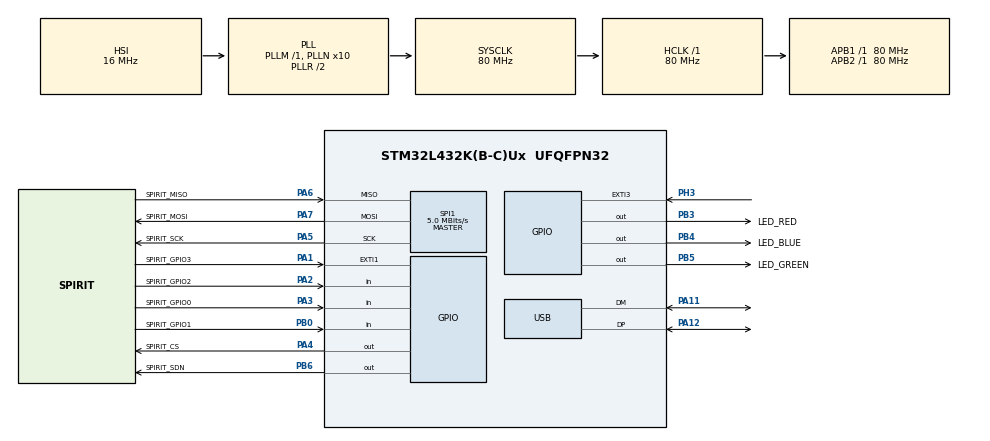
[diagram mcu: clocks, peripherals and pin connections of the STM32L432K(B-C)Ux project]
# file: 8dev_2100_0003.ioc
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Mcu.Family=STM32L4
Mcu.Name=STM32L432K(B-C)Ux
Mcu.Package=UFQFPN32
NVIC.EXTI1_IRQn=true\:1\:0\:true\:false\:true
NVIC.EXTI3_IRQn=true\:15\:0\:true\:false\:true
NVIC.PriorityGroup=NVIC_PRIORITYGROUP_4
NVIC.TIM6_DAC_IRQn=true\:0\:0\:true\:false\:true
NVIC.USB_IRQn=true\:0\:0\:false\:false\:true
PA1.GPIO_Label=SPIRIT_GPIO3
PA1.Signal=GPXTI1
PA11.Mode=Device
PA11.Signal=USB_DM
PA12.Mode=Device
PA12.Signal=USB_DP
PA13\ (JTMS-SWDIO).Mode=Serial_Wire
PA13\ (JTMS-SWDIO).Signal=SYS_JTMS-SWDIO
PA14\ (JTCK-SWCLK).Mode=Serial_Wire
PA14\ (JTCK-SWCLK).Signal=SYS_JTCK-SWCLK
PA2.GPIO_Label=SPIRIT_GPIO2
PA2.Signal=GPIO_Input
PA3.GPIO_Label=SPIRIT_GPIO0
PA3.Signal=GPIO_Input
PA4.GPIO_Label=SPIRIT_CS
PA4.GPIO_Speed=GPIO_SPEED_FREQ_VERY_HIGH
PA4.PinState=GPIO_PIN_SET
PA4.Signal=GPIO_Output
PA5.GPIO_Label=SPIRIT_SCK
PA5.GPIO_Mode=GPIO_MODE_AF_PP
PA5.GPIO_PuPd=GPIO_NOPULL
PA5.GPIO_Speed=GPIO_SPEED_FREQ_VERY_HIGH
PA5.Mode=Full_Duplex_Master
PA5.Signal=SPI1_SCK
PA6.GPIO_Label=SPIRIT_MISO
PA6.Mode=Full_Duplex_Master
PA6.Signal=SPI1_MISO
PA7.GPIO_Label=SPIRIT_MOSI
PA7.Mode=Full_Duplex_Master
PA7.Signal=SPI1_MOSI
PB0.GPIO_Label=SPIRIT_GPIO1
PB0.Signal=GPIO_Input
PB3\ (JTDO-TRACESWO).GPIO_Label=LED_RED
PB3\ (JTDO-TRACESWO).Signal=GPIO_Output
PB4\ (NJTRST).GPIO_Label=LED_BLUE
PB4\ (NJTRST).Signal=GPIO_Output
PB5.GPIO_Label=LED_GREEN
PB5.Signal=GPIO_Output
PB6.GPIO_Label=SPIRIT_SDN
PB6.GPIO_Speed=GPIO_SPEED_FREQ_VERY_HIGH
PB6.PinState=GPIO_PIN_SET
PB6.Signal=GPIO_Output
PC14-OSC32_IN\ (PC14).Mode=LSE-External-Oscillator
PC14-OSC32_IN\ (PC14).Signal=RCC_OSC32_IN
PC15-OSC32_OUT\ (PC15).Mode=LSE-External-Oscillator
PC15-OSC32_OUT\ (PC15).Signal=RCC_OSC32_OUT
PH3-BOOT0.Signal=GPXTI3
ProjectManager.HeapSize=0x200
ProjectManager.StackSize=0x400
ProjectManager.TargetToolchain=SW4STM32
RCC.ADCFreq_Value=64000000
RCC.AHBFreq_Value=80000000
RCC.APB1Freq_Value=80000000
RCC.APB1TimFreq_Value=80000000
RCC.APB2Freq_Value=80000000
RCC.APB2TimFreq_Value=80000000
RCC.CK48CLockSelection=RCC_USBCLKSOURCE_HSI48
RCC.CortexFreq_Value=80000000
RCC.DATA_CACHE_ENABLE=1
RCC.HCLKFreq_Value=80000000
RCC.HSE_VALUE=8000000
RCC.HSI48_VALUE=48000000
RCC.HSI_VALUE=16000000
RCC.MSI_VALUE=4000000
RCC.PLLN=10
RCC.PLLSourceVirtual=RCC_PLLSOURCE_HSI
RCC.PREFETCH_ENABLE=1
RCC.RTCClockSelection=RCC_RTCCLKSOURCE_LSE
RCC.SYSCLKFreq_VALUE=80000000
RCC.SYSCLKSource=RCC_SYSCLKSOURCE_PLLCLK
RCC.USBFreq_Value=48000000
RCC.VCOOutputFreq_Value=160000000
SPI1.BaudRatePrescaler=SPI_BAUDRATEPRESCALER_16
SPI1.CalculateBaudRate=5.0 MBits/s
SPI1.DataSize=SPI_DATASIZE_8BIT
SPI1.Mode=SPI_MODE_MASTER
SPI1.NSSPMode=SPI_NSS_PULSE_DISABLE
TIM6.Period=1
TIM6.Prescaler=999
TIM6.TIM_MasterOutputTrigger=TIM_TRGO_RESET
USB_DEVICE.CLASS_NAME_FS=CDC
USB_DEVICE.MANUFACTURER_STRING=8devices
USB_DEVICE.PID_CDC_FS=2100
USB_DEVICE.PRODUCT_STRING_CDC_FS=SPIRIT1 Gateway Router
USB_DEVICE.USBD_HandleTypeDef=hUsbDeviceFS
USB_DEVICE.VID=9599
USB_DEVICE.VirtualMode=Cdc
USB_DEVICE.VirtualModeFS=Cdc_FS
VP_RNG_VS_RNG.Mode=RNG_Activate
VP_RTC_VS_RTC_Activate.Mode=RTC_Enabled
VP_RTC_VS_RTC_Calendar.Mode=RTC_Calendar
VP_TIM6_VS_ClockSourceINT.Mode=Enable_Timer
VP_USB_DEVICE_VS_USB_DEVICE_CDC_FS.Mode=CDC_FS
board=8dev_2100_0003

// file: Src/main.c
/**
  ******************************************************************************
  * File Name          : main.c
  * Description        : Main program body
  ******************************************************************************
  *
  * Copyright (c) 2016 STMicroelectronics International N.V.
  * All rights reserved.
  *
  * Redistribution and use in source and binary forms, with or without
  * modification, are permitted, provided that the following conditions are met:
  *
  * 1. Redistribution of source code must retain the above copyright notice,
  *    this list of conditions and the following disclaimer.
  * 2. Redistributions in binary form must reproduce the above copyright notice,
  *    this list of conditions and the following disclaimer in the documentation
  *    and/or other materials provided with the distribution.
  * 3. Neither the name of STMicroelectronics nor the names of other
  *    contributors to this software may be used to endorse or promote products
  *    derived from this software without specific written permission.
  * 4. This software, including modifications and/or derivative works of this
  *    software, must execute solely and exclusively on microcontroller or
  *    microprocessor devices manufactured by or for STMicroelectronics.
  * 5. Redistribution and use of this software other than as permitted under
  *    this license is void and will automatically terminate your rights under
  *    this license.
  *
  * THIS SOFTWARE IS PROVIDED BY STMICROELECTRONICS AND CONTRIBUTORS "AS IS"
  * AND ANY EXPRESS, IMPLIED OR STATUTORY WARRANTIES, INCLUDING, BUT NOT
  * LIMITED TO, THE IMPLIED WARRANTIES OF MERCHANTABILITY, FITNESS FOR A
  * PARTICULAR PURPOSE AND NON-INFRINGEMENT OF THIRD PARTY INTELLECTUAL PROPERTY
  * RIGHTS ARE DISCLAIMED TO THE FULLEST EXTENT PERMITTED BY LAW. IN NO EVENT
  * SHALL STMICROELECTRONICS OR CONTRIBUTORS BE LIABLE FOR ANY DIRECT, INDIRECT,
  * INCIDENTAL, SPECIAL, EXEMPLARY, OR CONSEQUENTIAL DAMAGES (INCLUDING, BUT NOT
  * LIMITED TO, PROCUREMENT OF SUBSTITUTE GOODS OR SERVICES; LOSS OF USE, DATA,
  * OR PROFITS; OR BUSINESS INTERRUPTION) HOWEVER CAUSED AND ON ANY THEORY OF
  * LIABILITY, WHETHER IN CONTRACT, STRICT LIABILITY, OR TORT (INCLUDING
  * NEGLIGENCE OR OTHERWISE) ARISING IN ANY WAY OUT OF THE USE OF THIS SOFTWARE,
  * EVEN IF ADVISED OF THE POSSIBILITY OF SUCH DAMAGE.
  *
  ******************************************************************************
  */
#include "main.h"
#include "stm32l4xx_hal.h"
#include "usb_device.h"

/* USER CODE BEGIN Includes */
#include "board.h"
#include "process.h"
#include "usb_device.h"
#include "netstack.h"
#include "MCU_Interface.h"
#include "SPIRIT_Irq.h"
#include "SPIRIT_Commands.h"
#include "SPIRIT_Timer.h"
/* USER CODE END Includes */

RNG_HandleTypeDef hrng;

RTC_HandleTypeDef hrtc;

SPI_HandleTypeDef hspi1;

TIM_HandleTypeDef htim6;

/* USER CODE BEGIN PV */
/* Private variables ---------------------------------------------------------*/
volatile uint8_t cdc_configured = 0;
/* USER CODE END PV */

void SystemClock_Config(void);
void Error_Handler(void);
static void MX_GPIO_Init(void);
static void MX_RNG_Init(void);
static void MX_RTC_Init(void);
static void MX_SPI1_Init(void);
static void MX_TIM6_Init(void);

/* USER CODE BEGIN PFP */
/* Private function prototypes -----------------------------------------------*/

/* USER CODE END PFP */

int main(void)
{

  /* MCU Configuration----------------------------------------------------------*/

  /* Reset of all peripherals, Initializes the Flash interface and the Systick. */
  HAL_Init();

  /* Configure the system clock */
  SystemClock_Config();

  /* Initialize all configured peripherals */
  MX_GPIO_Init();
  MX_RNG_Init();
  MX_RTC_Init();
  MX_SPI1_Init();
  MX_USB_DEVICE_Init();
  MX_TIM6_Init();

  /* USER CODE BEGIN 2 */
  volatile uint8_t *usb_state = &hUsbDeviceFS.dev_state;
  while (*usb_state != USBD_STATE_CONFIGURED) {
	  __NOP();
  }
  while (!cdc_configured) __NOP();

  HAL_TIM_Base_Start_IT(&htim6);

  BSP_LED_Init(LED2);
//  RadioShieldLedInit(RADIO_SHIELD_LED);
  BSP_PB_Init(BUTTON_USER, BUTTON_MODE_EXTI);
  Stack_6LoWPAN_Init();

  /* USER CODE END 2 */

  /* Infinite loop */
  while (1)
  {

  /* USER CODE BEGIN 3 */
	  int r = 0;
	  do {
		  r = process_run();
	  } while(r > 0);
  }
  /* USER CODE END 3 */

}

/** System Clock Configuration
*/
void SystemClock_Config(void)
{

  RCC_OscInitTypeDef RCC_OscInitStruct;
  RCC_ClkInitTypeDef RCC_ClkInitStruct;
  RCC_PeriphCLKInitTypeDef PeriphClkInit;

    /**Initializes the CPU, AHB and APB busses clocks
    */
  RCC_OscInitStruct.OscillatorType = RCC_OSCILLATORTYPE_HSI48|RCC_OSCILLATORTYPE_HSI
                              |RCC_OSCILLATORTYPE_LSE;
  RCC_OscInitStruct.LSEState = RCC_LSE_ON;
  RCC_OscInitStruct.HSIState = RCC_HSI_ON;
  RCC_OscInitStruct.HSI48State = RCC_HSI48_ON;
  RCC_OscInitStruct.HSICalibrationValue = 16;
  RCC_OscInitStruct.PLL.PLLState = RCC_PLL_ON;
  RCC_OscInitStruct.PLL.PLLSource = RCC_PLLSOURCE_HSI;
  RCC_OscInitStruct.PLL.PLLM = 1;
  RCC_OscInitStruct.PLL.PLLN = 10;
  RCC_OscInitStruct.PLL.PLLP = RCC_PLLP_DIV7;
  RCC_OscInitStruct.PLL.PLLQ = RCC_PLLQ_DIV2;
  RCC_OscInitStruct.PLL.PLLR = RCC_PLLR_DIV2;
  if (HAL_RCC_OscConfig(&RCC_OscInitStruct) != HAL_OK)
  {
    Error_Handler();
  }

    /**Initializes the CPU, AHB and APB busses clocks
    */
  RCC_ClkInitStruct.ClockType = RCC_CLOCKTYPE_HCLK|RCC_CLOCKTYPE_SYSCLK
                              |RCC_CLOCKTYPE_PCLK1|RCC_CLOCKTYPE_PCLK2;
  RCC_ClkInitStruct.SYSCLKSource = RCC_SYSCLKSOURCE_PLLCLK;
  RCC_ClkInitStruct.AHBCLKDivider = RCC_SYSCLK_DIV1;
  RCC_ClkInitStruct.APB1CLKDivider = RCC_HCLK_DIV1;
  RCC_ClkInitStruct.APB2CLKDivider = RCC_HCLK_DIV1;

  if (HAL_RCC_ClockConfig(&RCC_ClkInitStruct, FLASH_LATENCY_4) != HAL_OK)
  {
    Error_Handler();
  }

  PeriphClkInit.PeriphClockSelection = RCC_PERIPHCLK_RTC|RCC_PERIPHCLK_USB
                              |RCC_PERIPHCLK_RNG;
  PeriphClkInit.RTCClockSelection = RCC_RTCCLKSOURCE_LSE;
  PeriphClkInit.UsbClockSelection = RCC_USBCLKSOURCE_HSI48;
  PeriphClkInit.RngClockSelection = RCC_RNGCLKSOURCE_HSI48;
  if (HAL_RCCEx_PeriphCLKConfig(&PeriphClkInit) != HAL_OK)
  {
    Error_Handler();
  }

    /**Configure the main internal regulator output voltage
    */
  if (HAL_PWREx_ControlVoltageScaling(PWR_REGULATOR_VOLTAGE_SCALE1) != HAL_OK)
  {
    Error_Handler();
  }

    /**Configure the Systick interrupt time
    */
  HAL_SYSTICK_Config(HAL_RCC_GetHCLKFreq()/1000);

    /**Configure the Systick
    */
  HAL_SYSTICK_CLKSourceConfig(SYSTICK_CLKSOURCE_HCLK);

  /* SysTick_IRQn interrupt configuration */
  HAL_NVIC_SetPriority(SysTick_IRQn, 0, 0);
}

/* RNG init function */
static void MX_RNG_Init(void)
{

  hrng.Instance = RNG;
  if (HAL_RNG_Init(&hrng) != HAL_OK)
  {
    Error_Handler();
  }

}

/* RTC init function */
static void MX_RTC_Init(void)
{

  RTC_TimeTypeDef sTime;
  RTC_DateTypeDef sDate;

    /**Initialize RTC Only
    */
  hrtc.Instance = RTC;
  hrtc.Init.HourFormat = RTC_HOURFORMAT_24;
  hrtc.Init.AsynchPrediv = 127;
  hrtc.Init.SynchPrediv = 255;
  hrtc.Init.OutPut = RTC_OUTPUT_DISABLE;
  hrtc.Init.OutPutRemap = RTC_OUTPUT_REMAP_NONE;
  hrtc.Init.OutPutPolarity = RTC_OUTPUT_POLARITY_HIGH;
  hrtc.Init.OutPutType = RTC_OUTPUT_TYPE_OPENDRAIN;
  if (HAL_RTC_Init(&hrtc) != HAL_OK)
  {
    Error_Handler();
  }

    /**Initialize RTC and set the Time and Date
    */
  sTime.Hours = 0x0;
  sTime.Minutes = 0x0;
  sTime.Seconds = 0x0;
  sTime.DayLightSaving = RTC_DAYLIGHTSAVING_NONE;
  sTime.StoreOperation = RTC_STOREOPERATION_RESET;
  if (HAL_RTC_SetTime(&hrtc, &sTime, RTC_FORMAT_BCD) != HAL_OK)
  {
    Error_Handler();
  }

  sDate.WeekDay = RTC_WEEKDAY_MONDAY;
  sDate.Month = RTC_MONTH_JANUARY;
  sDate.Date = 0x1;
  sDate.Year = 0x0;

  if (HAL_RTC_SetDate(&hrtc, &sDate, RTC_FORMAT_BCD) != HAL_OK)
  {
    Error_Handler();
  }

}

/* SPI1 init function */
static void MX_SPI1_Init(void)
{

  hspi1.Instance = SPI1;
  hspi1.Init.Mode = SPI_MODE_MASTER;
  hspi1.Init.Direction = SPI_DIRECTION_2LINES;
  hspi1.Init.DataSize = SPI_DATASIZE_8BIT;
  hspi1.Init.CLKPolarity = SPI_POLARITY_LOW;
  hspi1.Init.CLKPhase = SPI_PHASE_1EDGE;
  hspi1.Init.NSS = SPI_NSS_SOFT;
  hspi1.Init.BaudRatePrescaler = SPI_BAUDRATEPRESCALER_16;
  hspi1.Init.FirstBit = SPI_FIRSTBIT_MSB;
  hspi1.Init.TIMode = SPI_TIMODE_DISABLE;
  hspi1.Init.CRCCalculation = SPI_CRCCALCULATION_DISABLE;
  hspi1.Init.CRCPolynomial = 7;
  hspi1.Init.CRCLength = SPI_CRC_LENGTH_DATASIZE;
  hspi1.Init.NSSPMode = SPI_NSS_PULSE_DISABLE;
  if (HAL_SPI_Init(&hspi1) != HAL_OK)
  {
    Error_Handler();
  }

}

/* TIM6 init function */
static void MX_TIM6_Init(void)
{

  TIM_MasterConfigTypeDef sMasterConfig;

  htim6.Instance = TIM6;
  htim6.Init.Prescaler = 999;
  htim6.Init.CounterMode = TIM_COUNTERMODE_UP;
  htim6.Init.Period = 1;
  if (HAL_TIM_Base_Init(&htim6) != HAL_OK)
  {
    Error_Handler();
  }

  sMasterConfig.MasterOutputTrigger = TIM_TRGO_RESET;
  sMasterConfig.MasterSlaveMode = TIM_MASTERSLAVEMODE_DISABLE;
  if (HAL_TIMEx_MasterConfigSynchronization(&htim6, &sMasterConfig) != HAL_OK)
  {
    Error_Handler();
  }

}

/** Configure pins as
        * Analog
        * Input
        * Output
        * EVENT_OUT
        * EXTI
*/
static void MX_GPIO_Init(void)
{

  GPIO_InitTypeDef GPIO_InitStruct;

  /* GPIO Ports Clock Enable */
  __HAL_RCC_GPIOC_CLK_ENABLE();
  __HAL_RCC_GPIOA_CLK_ENABLE();
  __HAL_RCC_GPIOB_CLK_ENABLE();
  __HAL_RCC_GPIOH_CLK_ENABLE();

  /*Configure GPIO pin : SPIRIT_GPIO3_Pin */
  GPIO_InitStruct.Pin = SPIRIT_GPIO3_Pin;
  GPIO_InitStruct.Mode = GPIO_MODE_IT_RISING;
  GPIO_InitStruct.Pull = GPIO_NOPULL;
  HAL_GPIO_Init(SPIRIT_GPIO3_GPIO_Port, &GPIO_InitStruct);

  /*Configure GPIO pins : SPIRIT_GPIO2_Pin SPIRIT_GPIO0_Pin */
  GPIO_InitStruct.Pin = SPIRIT_GPIO2_Pin|SPIRIT_GPIO0_Pin;
  GPIO_InitStruct.Mode = GPIO_MODE_INPUT;
  GPIO_InitStruct.Pull = GPIO_NOPULL;
  HAL_GPIO_Init(GPIOA, &GPIO_InitStruct);

  /*Configure GPIO pin : SPIRIT_CS_Pin */
  GPIO_InitStruct.Pin = SPIRIT_CS_Pin;
  GPIO_InitStruct.Mode = GPIO_MODE_OUTPUT_PP;
  GPIO_InitStruct.Pull = GPIO_NOPULL;
  GPIO_InitStruct.Speed = GPIO_SPEED_FREQ_VERY_HIGH;
  HAL_GPIO_Init(SPIRIT_CS_GPIO_Port, &GPIO_InitStruct);

  /*Configure GPIO pin : SPIRIT_GPIO1_Pin */
  GPIO_InitStruct.Pin = SPIRIT_GPIO1_Pin;
  GPIO_InitStruct.Mode = GPIO_MODE_INPUT;
  GPIO_InitStruct.Pull = GPIO_NOPULL;
  HAL_GPIO_Init(SPIRIT_GPIO1_GPIO_Port, &GPIO_InitStruct);

  /*Configure GPIO pins : LED_RED_Pin LED_BLUE_Pin LED_GREEN_Pin */
  GPIO_InitStruct.Pin = LED_RED_Pin|LED_BLUE_Pin|LED_GREEN_Pin;
  GPIO_InitStruct.Mode = GPIO_MODE_OUTPUT_PP;
  GPIO_InitStruct.Pull = GPIO_NOPULL;
  GPIO_InitStruct.Speed = GPIO_SPEED_FREQ_LOW;
  HAL_GPIO_Init(GPIOB, &GPIO_InitStruct);

  /*Configure GPIO pin : SPIRIT_SDN_Pin */
  GPIO_InitStruct.Pin = SPIRIT_SDN_Pin;
  GPIO_InitStruct.Mode = GPIO_MODE_OUTPUT_PP;
  GPIO_InitStruct.Pull = GPIO_NOPULL;
  GPIO_InitStruct.Speed = GPIO_SPEED_FREQ_VERY_HIGH;
  HAL_GPIO_Init(SPIRIT_SDN_GPIO_Port, &GPIO_InitStruct);

  /*Configure GPIO pin : PH3 */
  GPIO_InitStruct.Pin = GPIO_PIN_3;
  GPIO_InitStruct.Mode = GPIO_MODE_IT_RISING;
  GPIO_InitStruct.Pull = GPIO_NOPULL;
  HAL_GPIO_Init(GPIOH, &GPIO_InitStruct);

  /*Configure GPIO pin Output Level */
  HAL_GPIO_WritePin(SPIRIT_CS_GPIO_Port, SPIRIT_CS_Pin, GPIO_PIN_SET);

  /*Configure GPIO pin Output Level */
  HAL_GPIO_WritePin(GPIOB, LED_RED_Pin|LED_BLUE_Pin|LED_GREEN_Pin, GPIO_PIN_RESET);

  /*Configure GPIO pin Output Level */
  HAL_GPIO_WritePin(SPIRIT_SDN_GPIO_Port, SPIRIT_SDN_Pin, GPIO_PIN_SET);

  /* EXTI interrupt init*/
  HAL_NVIC_SetPriority(EXTI1_IRQn, 1, 0);
  HAL_NVIC_EnableIRQ(EXTI1_IRQn);

  HAL_NVIC_SetPriority(EXTI3_IRQn, 15, 0);
  HAL_NVIC_EnableIRQ(EXTI3_IRQn);

}

void Error_Handler(void)
{
  while(1)
  {
  }
}

/************************ (C) COPYRIGHT STMicroelectronics *****END OF FILE****/
